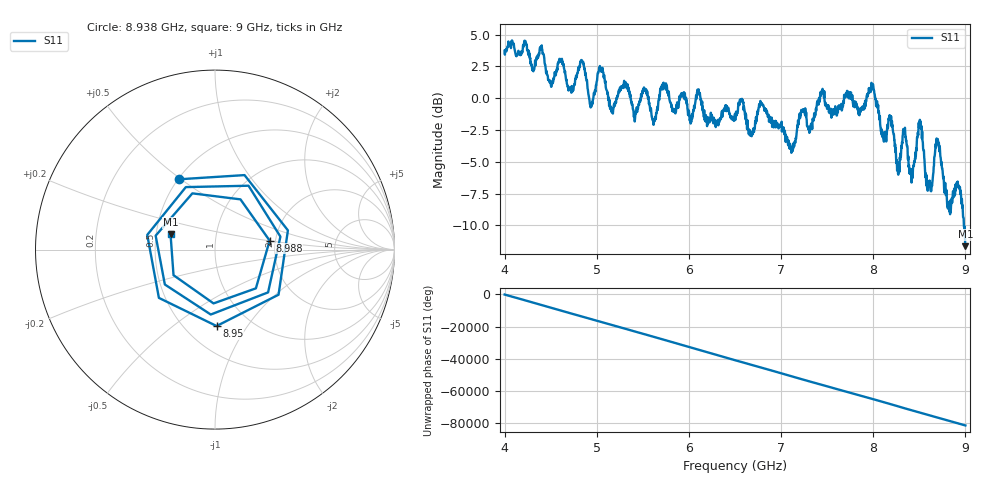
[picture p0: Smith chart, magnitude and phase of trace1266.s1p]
! Created with skrf 1.8.0 (http://scikit-rf.org).
# Hz S RI R 50.0
!freq ReS11 ImS11
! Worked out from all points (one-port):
!   1601 points, 4 GHz to 9 GHz, reference 50 ohm
!   lowest |S11| = -11.6 dB at 9 GHz (marker M1), VSWR 1.71, Z = 29.8 + j5.47 ohm
!   |S11| at or under -10 dB: 8.983687 GHz to end of sweep
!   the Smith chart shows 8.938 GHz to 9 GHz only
!   S11 on the Smith chart (normalised r, x): 8.938 GHz: 0.51, +0.49; 8.95 GHz: 0.70, -0.73; 8.988 GHz: 1.86, +0.21; 9 GHz: 0.60, +0.11
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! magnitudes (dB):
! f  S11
! 4 GHz  3.7
! 4.625 GHz  2.7
! 4.716 GHz  0.7
! 4.844 GHz  2.9
! 4.938 GHz  -0.4
! 5.038 GHz  2.3
! 5.159 GHz  -0.8
! 5.25 GHz  0.8
! 5.875 GHz  -0.5
! 6.5 GHz  -1.2
! 6.681 GHz  -3.0
! 6.788 GHz  -0.4
! 7.125 GHz  -4.1
! 7.444 GHz  0.5
! 7.75 GHz  0.0
! 7.988 GHz  1.0
! 8.266 GHz  -5.1
! 8.334 GHz  -2.6
! 8.375 GHz  -4.8
! 8.425 GHz  -5.7
! 8.506 GHz  -1.7
! 8.606 GHz  -6.5
! 8.697 GHz  -3.3
! 8.822 GHz  -8.8
! 8.938 GHz  -7.1
! 8.95 GHz  -7.4
! 8.988 GHz  -10.2
! 9 GHz  -11.6
